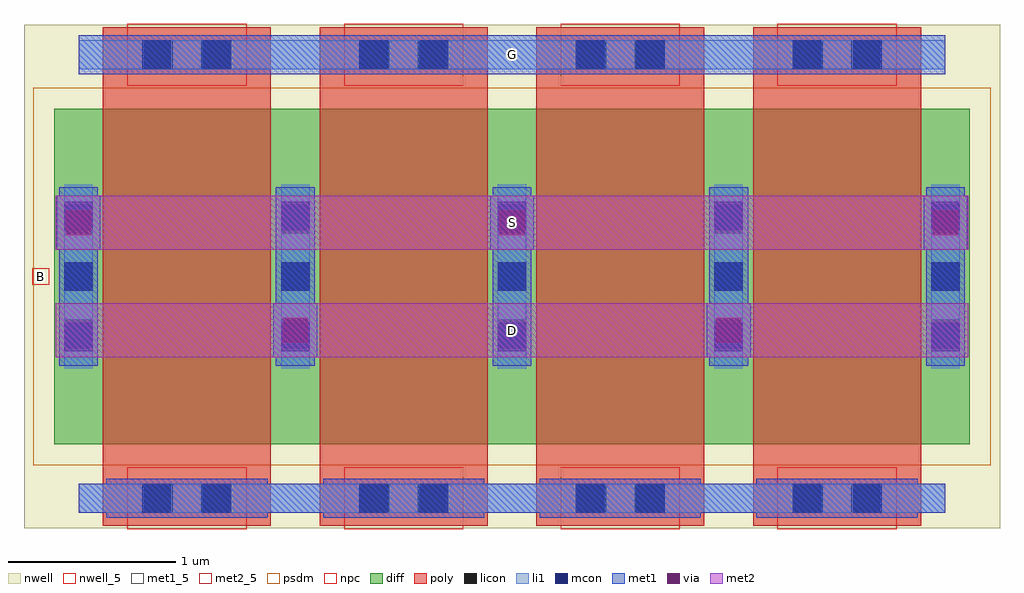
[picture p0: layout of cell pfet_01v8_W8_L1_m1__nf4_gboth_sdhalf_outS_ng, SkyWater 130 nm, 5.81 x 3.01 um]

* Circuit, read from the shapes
.subckt pfet_01v8_W8_L1_m1__nf4_gboth_sdhalf_outS_ng B D G S
XM1 D G S B sky130_fd_pr__pfet_01v8 w=2 l=1 m=4
.ends

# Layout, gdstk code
import gdstk
lib = gdstk.Library(unit=1e-6, precision=1e-09)
def R(c, l, rs):  # rectangles x0, y0, x1, y1
    for r in rs: c.add(gdstk.rectangle(r[:2], r[2:], *l))
def A(c, l, x, y, w, h, nx, ny, dx, dy):  # array of equal rectangles
    R(c, l, [(x+i*dx, y+j*dy, x+i*dx+w, y+j*dy+h) for i in range(nx) for j in range(ny)])
nwell_5 = (64, 5)
nwell = (64, 20)
diff = (65, 20)
poly = (66, 20)
licon = (66, 44)
li1 = (67, 20)
mcon = (67, 44)
met1_5 = (68, 5)
met1 = (68, 20)
via = (68, 44)
met2_5 = (69, 5)
met2 = (69, 20)
psdm = (94, 20)
npc = (95, 20)

sky130_fd_pr__pfet_01v8_ = lib.new_cell('sky130_fd_pr__pfet_01v8_9337MD')
R(sky130_fd_pr__pfet_01v8_, nwell, [(-2.905,-1.5,2.905,1.5)])
R(sky130_fd_pr__pfet_01v8_, diff, [(-2.725,-1,2.725,1)])
A(sky130_fd_pr__pfet_01v8_, poly, -2.435, -1.485, 1, 2.97, 4, 1, 1.29, 0)
A(sky130_fd_pr__pfet_01v8_, licon, -2.665, -0.425, 0.17, 0.17, 5, 3, 1.29, 0.34)
R(sky130_fd_pr__pfet_01v8_, licon, [(-2.19,-1.405,-2.02,-1.235), (-1.85,-1.405,-1.68,-1.235), (-0.9,-1.405,-0.73,-1.235), (-0.56,-1.405,-0.39,-1.235), (0.39,-1.405,0.56,-1.235), (0.73,-1.405,0.9,-1.235), (1.68,-1.405,1.85,-1.235), (2.02,-1.405,2.19,-1.235), (-2.19,1.235,-2.02,1.405), (-1.85,1.235,-1.68,1.405), (-0.9,1.235,-0.73,1.405), (-0.56,1.235,-0.39,1.405), (0.39,1.235,0.56,1.405), (0.73,1.235,0.9,1.405), (1.68,1.235,1.85,1.405), (2.02,1.235,2.19,1.405)])
A(sky130_fd_pr__pfet_01v8_, li1, -2.665, -0.55, 0.17, 1.1, 5, 1, 1.29, 0)
R(sky130_fd_pr__pfet_01v8_, li1, [(-2.58,-1.405,2.58,-1.235), (-2.58,1.235,2.58,1.405)])
A(sky130_fd_pr__pfet_01v8_, mcon, -2.665, -0.445, 0.17, 0.17, 5, 3, 1.29, 0.36)
R(sky130_fd_pr__pfet_01v8_, mcon, [(-2.2,-1.405,-2.03,-1.235), (-1.84,-1.405,-1.67,-1.235), (-0.91,-1.405,-0.74,-1.235), (-0.55,-1.405,-0.38,-1.235), (0.38,-1.405,0.55,-1.235), (0.74,-1.405,0.91,-1.235), (1.67,-1.405,1.84,-1.235), (2.03,-1.405,2.2,-1.235), (-2.2,1.235,-2.03,1.405), (-1.84,1.235,-1.67,1.405), (-0.91,1.235,-0.74,1.405), (-0.55,1.235,-0.38,1.405), (0.38,1.235,0.55,1.405), (0.74,1.235,0.91,1.405), (1.67,1.235,1.84,1.405), (2.03,1.235,2.2,1.405)])
A(sky130_fd_pr__pfet_01v8_, met1, -2.415, -1.435, 0.96, 0.03, 4, 2, 1.29, 0.2)
A(sky130_fd_pr__pfet_01v8_, met1, -2.695, -0.53, 0.23, 1.06, 5, 1, 1.29, 0)
A(sky130_fd_pr__pfet_01v8_, met1, -2.415, 1.205, 0.96, 0.03, 4, 2, 1.29, 0.2)
R(sky130_fd_pr__pfet_01v8_, met1, [(-2.58,-1.405,2.58,-1.235), (-2.58,1.235,2.58,1.405)])
R(sky130_fd_pr__pfet_01v8_, psdm, [(-2.85,-1.125,2.85,1.125)])
A(sky130_fd_pr__pfet_01v8_, npc, -2.29, -1.505, 0.71, 0.37, 4, 2, 1.29, 2.64)
sky130_fd_pr__pfet_01v8_.add(gdstk.Label('D0', (-2.58,0), layer=67, texttype=5))
sky130_fd_pr__pfet_01v8_.add(gdstk.Label('G', (1.935,1.32), layer=67, texttype=5))
sky130_fd_pr__pfet_01v8_.add(gdstk.Label('G', (0.645,1.32), layer=67, texttype=5))
sky130_fd_pr__pfet_01v8_.add(gdstk.Label('G', (-0.645,1.32), layer=67, texttype=5))
sky130_fd_pr__pfet_01v8_.add(gdstk.Label('G', (-1.935,1.32), layer=67, texttype=5))
sky130_fd_pr__pfet_01v8_.add(gdstk.Label('S1', (-1.29,0), layer=67, texttype=5))
sky130_fd_pr__pfet_01v8_.add(gdstk.Label('D2', (0,0), layer=67, texttype=5))
sky130_fd_pr__pfet_01v8_.add(gdstk.Label('S3', (1.29,0), layer=67, texttype=5))

pfet_01v8_w8_l1_m1__nf4_ = lib.new_cell('pfet_01v8_W8_L1_m1__nf4_gboth_sdhalf_outS_ng')
R(pfet_01v8_w8_l1_m1__nf4_, nwell_5, [(0.05,1.45,0.15,1.55)])
R(pfet_01v8_w8_l1_m1__nf4_, nwell, [(0.05,1.45,0.15,1.55)])
R(pfet_01v8_w8_l1_m1__nf4_, met1_5, [(0.325,2.705,5.485,2.935)])
A(pfet_01v8_w8_l1_m1__nf4_, met1, 0.195, 1.66, 0.26, 0.32, 3, 1, 2.58, 0)
R(pfet_01v8_w8_l1_m1__nf4_, met1, [(1.485,1.02,1.745,1.34), (4.065,1.02,4.325,1.34), (0.325,2.705,5.485,2.935)])
A(pfet_01v8_w8_l1_m1__nf4_, via, 0.25, 1.745, 0.15, 0.15, 3, 1, 2.58, 0)
R(pfet_01v8_w8_l1_m1__nf4_, via, [(1.54,1.105,1.69,1.255), (4.12,1.105,4.27,1.255)])
R(pfet_01v8_w8_l1_m1__nf4_, met2_5, [(0.19,1.02,5.62,1.34), (0.19,1.66,5.62,1.98)])
R(pfet_01v8_w8_l1_m1__nf4_, met2, [(0.19,1.02,5.62,1.34), (0.19,1.66,5.62,1.98)])
pfet_01v8_w8_l1_m1__nf4_.add(gdstk.Reference(sky130_fd_pr__pfet_01v8_, (2.905,1.5)))
pfet_01v8_w8_l1_m1__nf4_.add(gdstk.Label('S', (2.905,1.82), layer=69, texttype=5))
pfet_01v8_w8_l1_m1__nf4_.add(gdstk.Label('D', (2.905,1.18), layer=69, texttype=5))
pfet_01v8_w8_l1_m1__nf4_.add(gdstk.Label('G', (2.905,2.82), layer=68, texttype=5))
pfet_01v8_w8_l1_m1__nf4_.add(gdstk.Label('B', (0.1,1.5), layer=64, texttype=5))

lib.write_gds('pfet_01v8_W8_L1_m1__nf4_gboth_sdhalf_outS_ng.gds')
